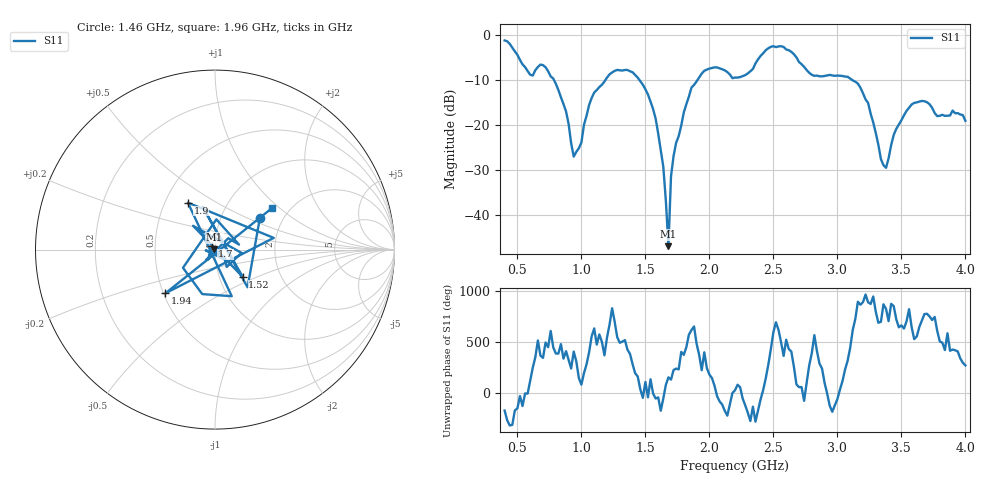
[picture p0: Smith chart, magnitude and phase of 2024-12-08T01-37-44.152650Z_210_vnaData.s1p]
!Created with skrf (http://scikit-rf.org).
# Hz S RI R 50.0
!freq ReS11 ImS11
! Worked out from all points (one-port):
!   181 points, 400 MHz to 4 GHz, reference 50 ohm
!   lowest |S11| = -47.0 dB at 1.68 GHz (marker M1), VSWR 1.01, Z = 49.6 + j0.212 ohm
!   |S11| at or under -10 dB: 783.9 MHz to 1.19 GHz (406.1 MHz wide, 41.1 % of centre); 1.451 GHz to 1.909 GHz (458 MHz wide, 27.3 % of centre); 3.111 GHz to end of sweep
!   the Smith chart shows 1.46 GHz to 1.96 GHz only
!   S11 on the Smith chart (normalised r, x): 1.46 GHz: 1.53, +0.59; 1.52 GHz: 1.29, -0.41; 1.7 GHz: 0.97, +0.04; 1.9 GHz: 0.65, +0.38; 1.94 GHz: 0.51, -0.29; 1.96 GHz: 1.63, +0.90
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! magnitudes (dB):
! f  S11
! 400 MHz  -1.3
! 600 MHz  -8.9
! 720 MHz  -7.3
! 860 MHz  -15.4
! 940 MHz  -27.1
! 1.1 GHz  -12.9
! 1.3 GHz  -7.9
! 1.46 GHz  -10.3
! 1.52 GHz  -13.3
! 1.58 GHz  -18.7
! 1.64 GHz  -29.4
! 1.68 GHz  -47.0
! 1.7 GHz  -31.5
! 1.76 GHz  -22.6
! 1.9 GHz  -10.4
! 1.94 GHz  -8.7
! 1.96 GHz  -8.1
! 2.2 GHz  -9.6
! 2.48 GHz  -2.7
! 2.66 GHz  -4.4
! 2.8 GHz  -8.9
! 3.1 GHz  -9.8
! 3.24 GHz  -15.2
! 3.38 GHz  -29.6
! 3.44 GHz  -22.3
! 3.56 GHz  -16.3
! 3.68 GHz  -14.8
! 4 GHz  -19.1
